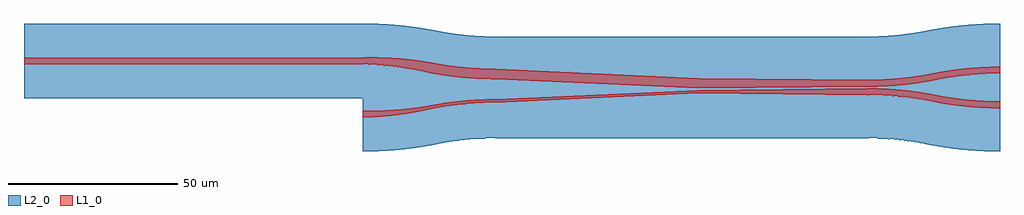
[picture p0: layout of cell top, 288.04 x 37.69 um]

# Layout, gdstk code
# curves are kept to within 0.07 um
import gdstk
lib = gdstk.Library(unit=1e-6, precision=1e-09)
def R(c, l, rs):  # rectangles x0, y0, x1, y1
    for r in rs: c.add(gdstk.rectangle(r[:2], r[2:], *l))
def P(c, l, *ps):  # polygons
    for p in ps: c.add(gdstk.Polygon(p, *l))
L1_0 = (1, 0)
L2_0 = (2, 0)

waveguide_1 = lib.new_cell('Waveguide_1')
R(waveguide_1, L1_0, [(0,-1,100,1)])
R(waveguide_1, L2_0, [(0,-11,100,11)])

adiabaticcoupler_1 = lib.new_cell('AdiabaticCoupler_1')
P(adiabaticcoupler_1, L1_0, [(100,1),(106.617,0.95),(106.464,-1.378),(100,-1)],
  [(106.617,0.95),(113.227,0.466),(112.879,-2.177),(106.464,-1.378)],
  [(113.227,0.466),(119.802,-0.45),(119.216,-3.393),(112.879,-2.177)],
  [(119.216,-3.393),(125.77,-4.475),(126.161,-1.5),(119.802,-0.45)],
  [(125.77,-4.475),(132.38,-5.126),(132.576,-2.132),(126.161,-1.5)],
  [(132.38,-5.126),(139.018,-5.343),(139.018,-2.343),(132.576,-2.132)],
  [(100,-16.686),(105,-16.436),(109.875,-15.951),(109.728,-14.458),(104.765,-14.694),(100,-14.686)],
  [(109.875,-15.951),(115.011,-15.179),(119.607,-14.255),(119.411,-13.274),(114.878,-13.949),(109.728,-14.458)],
  [(119.411,-13.274),(124.073,-12.46),(129.167,-11.827),(129.265,-12.822),(124.517,-13.405),(119.607,-14.255)],
  [(129.167,-11.827),(134.288,-11.454),(139.018,-11.343),(139.018,-12.343),(134.335,-12.453),(129.265,-12.822)],
  [(139.018,-2.343),(139.018,-5.343),(199.018,-8.093),(199.018,-5.093)],
  [(139.018,-12.343),(139.018,-11.343),(199.018,-8.593),(199.018,-9.593)],
  [(199.018,-5.093),(199.018,-8.093),(249.018,-7.593),(249.018,-5.593)],
  [(249.018,-7.593),(253.824,-7.479),(258.918,-7.107),(258.722,-5.116),(253.777,-5.479),(249.018,-5.593)],
  [(258.918,-7.107),(263.986,-6.478),(268.722,-5.652),(268.332,-3.691),(263.642,-4.507),(258.722,-5.116)],
  [(268.332,-3.691),(273.068,-2.865),(278.136,-2.236),(278.332,-4.227),(273.412,-4.836),(268.722,-5.652)],
  [(278.136,-2.236),(283.23,-1.864),(288.036,-1.75),(288.036,-3.75),(283.277,-3.864),(278.332,-4.227)],
  [(199.018,-8.593),(199.018,-9.593),(249.018,-10.093),(249.018,-8.093)],
  [(249.018,-8.093),(253.824,-8.207),(258.918,-8.579),(258.722,-10.57),(253.777,-10.207),(249.018,-10.093)],
  [(258.918,-8.579),(263.887,-9.193),(268.722,-10.034),(268.332,-11.995),(263.544,-11.164),(258.722,-10.57)],
  [(268.332,-11.995),(273.068,-12.821),(278.136,-13.45),(278.332,-11.459),(273.412,-10.85),(268.722,-10.034)],
  [(278.136,-13.45),(283.13,-13.817),(288.036,-13.936),(288.036,-11.936),(283.178,-11.817),(278.332,-11.459)])
R(adiabaticcoupler_1, L2_0, [(139.018,-22.843,249.018,-0.843), (139.018,-14.843,249.018,7.157)])
P(adiabaticcoupler_1, L2_0, [(100,11),(107.26,10.762),(105.821,-11.191),(100,-11)],
  [(107.26,10.762),(114.488,10.05),(111.617,-11.761),(105.821,-11.191)],
  [(114.488,10.05),(121.655,8.867),(117.363,-12.71),(111.617,-11.761)],
  [(117.363,-12.71),(124.53,-13.893),(127.401,7.918),(121.655,8.867)],
  [(124.53,-13.893),(131.758,-14.605),(133.197,7.348),(127.401,7.918)],
  [(131.758,-14.605),(139.018,-14.843),(139.018,7.157),(133.197,7.348)],
  [(249.018,-14.843),(256.278,-14.605),(254.839,7.348),(249.018,7.157)],
  [(256.278,-14.605),(263.506,-13.893),(260.635,7.918),(254.839,7.348)],
  [(263.506,-13.893),(270.673,-12.71),(266.381,8.867),(260.635,7.918)],
  [(266.381,8.867),(273.548,10.05),(276.419,-11.761),(270.673,-12.71)],
  [(273.548,10.05),(280.776,10.762),(282.215,-11.191),(276.419,-11.761)],
  [(280.776,10.762),(288.036,11),(288.036,-11),(282.215,-11.191)],
  [(100,-26.686),(107.26,-26.448),(105.821,-4.495),(100,-4.686)],
  [(107.26,-26.448),(114.488,-25.736),(111.617,-3.924),(105.821,-4.495)],
  [(114.488,-25.736),(121.655,-24.553),(117.363,-2.976),(111.617,-3.924)],
  [(117.363,-2.976),(124.53,-1.793),(127.401,-23.604),(121.655,-24.553)],
  [(124.53,-1.793),(131.758,-1.081),(133.197,-23.033),(127.401,-23.604)],
  [(131.758,-1.081),(139.018,-0.843),(139.018,-22.843),(133.197,-23.033)],
  [(249.018,-0.843),(256.278,-1.081),(254.839,-23.033),(249.018,-22.843)],
  [(256.278,-1.081),(263.506,-1.793),(260.635,-23.604),(254.839,-23.033)],
  [(263.506,-1.793),(270.673,-2.976),(266.381,-24.553),(260.635,-23.604)],
  [(266.381,-24.553),(273.548,-25.736),(276.419,-3.924),(270.673,-2.976)],
  [(273.548,-25.736),(280.776,-26.448),(282.215,-4.495),(276.419,-3.924)],
  [(280.776,-26.448),(288.036,-26.686),(288.036,-4.686),(282.215,-4.495)])

top = lib.new_cell('top')
top.add(gdstk.Reference(waveguide_1, (0,0)))
top.add(gdstk.Reference(adiabaticcoupler_1, (0,0)))

lib.write_gds('top.gds')
